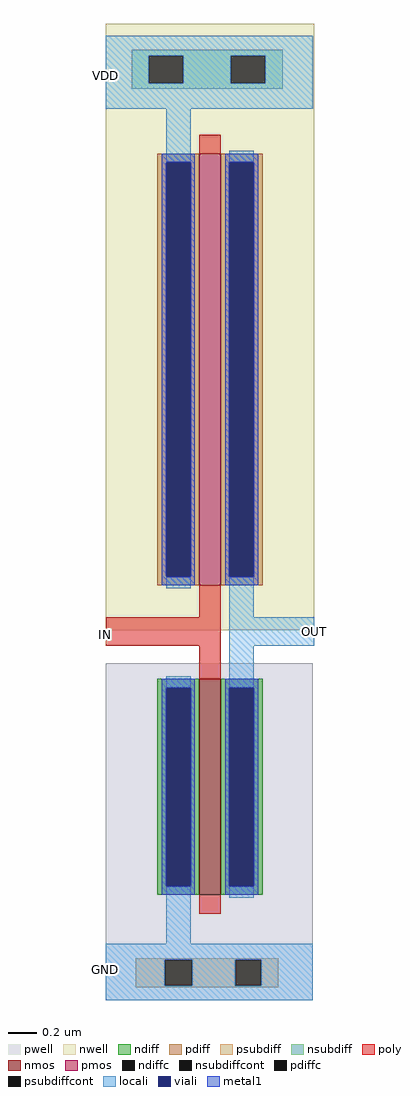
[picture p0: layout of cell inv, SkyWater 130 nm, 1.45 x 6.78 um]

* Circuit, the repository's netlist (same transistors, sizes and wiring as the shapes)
** sch_path: /home/nikolap/Desktop/ASIC/xschem_workdir/inv.sch
**.subckt inv IN OUT VDD GND
*.ipin IN
*.opin OUT
*.iopin VDD
*.iopin GND
XM1 OUT IN GND GND sky130_fd_pr__nfet_01v8 L=0.15 W=1.5 nf=1 ad='int((nf+1)/2) * W/nf * 0.29' as='int((nf+2)/2) * W/nf * 0.29'
+ pd='2*int((nf+1)/2) * (W/nf + 0.29)' ps='2*int((nf+2)/2) * (W/nf + 0.29)' nrd='0.29 / W' nrs='0.29 / W'
+ sa=0 sb=0 sd=0 mult=1 m=1
XM2 OUT IN VDD VDD sky130_fd_pr__pfet_01v8 L=0.15 W=3 nf=1 ad='int((nf+1)/2) * W/nf * 0.29' as='int((nf+2)/2) * W/nf * 0.29'
+ pd='2*int((nf+1)/2) * (W/nf + 0.29)' ps='2*int((nf+2)/2) * (W/nf + 0.29)' nrd='0.29 / W' nrs='0.29 / W'
+ sa=0 sb=0 sd=0 mult=1 m=1
**.ends
.end

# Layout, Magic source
magic
tech sky130B
magscale 1 2
<< nwell >>
rect -72 394 218 1236
<< pwell >>
rect -72 -120 216 348
<< psubdiff >>
rect -30 -64 168 -62
rect -30 -100 10 -64
rect 48 -100 108 -64
rect 144 -100 168 -64
rect -30 -102 168 -100
<< nsubdiff >>
rect -36 1192 174 1200
rect -36 1154 -12 1192
rect 36 1154 102 1192
rect 150 1154 174 1192
rect -36 1146 174 1154
<< psubdiffcont >>
rect 10 -100 48 -64
rect 108 -100 144 -64
<< nsubdiffcont >>
rect -12 1154 36 1192
rect 102 1154 150 1192
<< poly >>
rect 58 412 88 430
rect -72 372 88 412
rect 58 352 88 372
<< locali >>
rect -72 1192 216 1220
rect -72 1154 -12 1192
rect 36 1154 102 1192
rect 150 1154 216 1192
rect -72 1118 216 1154
rect 12 1060 46 1118
rect 100 412 134 452
rect 100 372 218 412
rect 100 330 134 372
rect 12 -42 46 22
rect -72 -64 216 -42
rect -72 -100 10 -64
rect 48 -100 108 -64
rect 144 -100 216 -64
rect -72 -120 216 -100
use sky130_fd_pr__nfet_01v8_S96UGK  sky130_fd_pr__nfet_01v8_S96UGK_0
transform 1 0 73 0 1 176
box -73 -176 73 176
use sky130_fd_pr__pfet_01v8_5EUT2B  sky130_fd_pr__pfet_01v8_5EUT2B_0
transform 1 0 73 0 1 756
box -109 -362 109 362
<< labels >>
flabel locali -72 1164 -72 1164 0 FreeSans 320 0 0 0 VDD
port 0 nsew
flabel locali -72 -78 -72 -78 0 FreeSans 320 0 0 0 GND
port 1 nsew
flabel poly -72 388 -72 388 0 FreeSans 320 0 0 0 IN
port 2 nsew
flabel locali 218 392 218 392 0 FreeSans 320 0 0 0 OUT
port 3 nsew
<< end >>

# cell sky130_fd_pr__nfet_01v8_S96UGK: kit device sky130_fd_pr__nfet_01v8, w 1.5 l 0.150 m 1 nf 1 diffcov 100 polycov 100 guard 0 glc 0 grc 0 gtc 0 gbc 0 tbcov 100 rlcov 100 topc 0 botc 0 poverlap 0 doverlap 0 lmin 0.15 wmin 0.42 compatible {sky130_fd_pr__nfet_01v8 sky130_fd_pr__nfet_01v8_lvt sky130_fd_bs_flash__special_sonosfet_star sky130_fd_pr__nfet_g5v0d10v5 sky130_fd_pr__nfet_05v0_nvt sky130_fd_pr__nfet_03v3_nvt} full_metal 0 viasrc 100 viadrn 100 viagate 100 viagb 0 viagr 0 viagl 0 viagt 0

# cell sky130_fd_pr__pfet_01v8_5EUT2B: kit device sky130_fd_pr__pfet_01v8, w 3 l 0.15 m 1 nf 1 diffcov 100 polycov 100 guard 0 glc 0 grc 0 gtc 0 gbc 0 tbcov 100 rlcov 100 topc 0 botc 0 poverlap 0 doverlap 0 lmin 0.15 wmin 0.42 compatible {sky130_fd_pr__pfet_01v8 sky130_fd_pr__pfet_01v8_lvt sky130_fd_pr__pfet_01v8_hvt sky130_fd_pr__pfet_g5v0d10v5} full_metal 0 viasrc 100 viadrn 100 viagate 100 viagb 0 viagr 0 viagl 0 viagt 0
